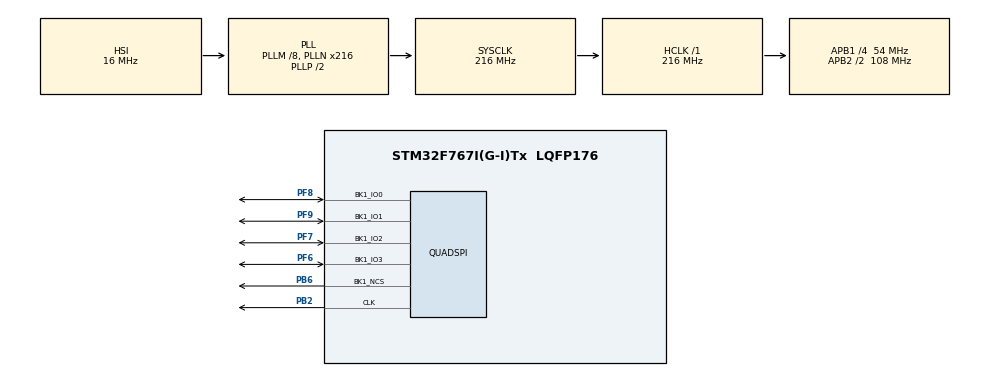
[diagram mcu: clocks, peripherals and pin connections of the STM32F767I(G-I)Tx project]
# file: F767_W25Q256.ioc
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Mcu.Family=STM32F7
Mcu.Name=STM32F767I(G-I)Tx
Mcu.Package=LQFP176
NVIC.PriorityGroup=NVIC_PRIORITYGROUP_4
NVIC.QUADSPI_IRQn=true\:0\:0\:false\:false\:true\:true\:true\:true
PB2.GPIO_Speed=GPIO_SPEED_FREQ_HIGH
PB2.Mode=Single Bank 1
PB2.Signal=QUADSPI_CLK
PB6.GPIO_Speed=GPIO_SPEED_FREQ_HIGH
PB6.Mode=Single Bank 1
PB6.Signal=QUADSPI_BK1_NCS
PC14/OSC32_IN.Mode=LSE-External-Oscillator
PC14/OSC32_IN.Signal=RCC_OSC32_IN
PC15/OSC32_OUT.Mode=LSE-External-Oscillator
PC15/OSC32_OUT.Signal=RCC_OSC32_OUT
PF6.GPIO_Speed=GPIO_SPEED_FREQ_HIGH
PF6.Mode=Single Bank 1
PF6.Signal=QUADSPI_BK1_IO3
PF7.GPIO_Speed=GPIO_SPEED_FREQ_HIGH
PF7.Mode=Single Bank 1
PF7.Signal=QUADSPI_BK1_IO2
PF8.GPIO_Speed=GPIO_SPEED_FREQ_HIGH
PF8.Mode=Single Bank 1
PF8.Signal=QUADSPI_BK1_IO0
PF9.GPIO_Speed=GPIO_SPEED_FREQ_HIGH
PF9.Mode=Single Bank 1
PF9.Signal=QUADSPI_BK1_IO1
PH0/OSC_IN.Mode=HSE-External-Oscillator
PH0/OSC_IN.Signal=RCC_OSC_IN
PH1/OSC_OUT.Mode=HSE-External-Oscillator
PH1/OSC_OUT.Signal=RCC_OSC_OUT
ProjectManager.HeapSize=0x200
ProjectManager.StackSize=0x400
ProjectManager.TargetToolchain=STM32CubeIDE
QUADSPI.ChipSelectHighTime=QSPI_CS_HIGH_TIME_5_CYCLE
QUADSPI.ClockMode=QSPI_CLOCK_MODE_0
QUADSPI.ClockPrescaler=1
QUADSPI.FifoThreshold=32
QUADSPI.FlashSize=24
QUADSPI.SampleShifting=QSPI_SAMPLE_SHIFTING_HALFCYCLE
RCC.AHBFreq_Value=216000000
RCC.APB1CLKDivider=RCC_HCLK_DIV4
RCC.APB1Freq_Value=54000000
RCC.APB1TimFreq_Value=108000000
RCC.APB2CLKDivider=RCC_HCLK_DIV2
RCC.APB2Freq_Value=108000000
RCC.APB2TimFreq_Value=216000000
RCC.CortexFreq_Value=216000000
RCC.HCLKFreq_Value=216000000
RCC.HSE_VALUE=25000000
RCC.HSI_VALUE=16000000
RCC.PLLM=8
RCC.PLLN=216
RCC.SYSCLKFreq_VALUE=216000000
RCC.SYSCLKSource=RCC_SYSCLKSOURCE_PLLCLK
RCC.USBFreq_Value=216000000
RCC.VCOOutputFreq_Value=432000000
board=custom

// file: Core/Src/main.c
/* USER CODE BEGIN Header */
/**
  ******************************************************************************
  * @file           : main.c
  * @brief          : Main program body
  ******************************************************************************
  * @attention
  *
  * Copyright (c) 2024 STMicroelectronics.
  * All rights reserved.
  *
  * This software is licensed under terms that can be found in the LICENSE file
  * in the root directory of this software component.
  * If no LICENSE file comes with this software, it is provided AS-IS.
  *
  ******************************************************************************
  */
/* USER CODE END Header */
#include "main.h"
#include "quadspi.h"
#include "gpio.h"

void SystemClock_Config(void);

/* USER CODE BEGIN 0 */
#include <string.h>
#include "w25q256.h"
//8192
#define SECTORS_COUNT 256
/* USER CODE END 0 */

int main(void)
{

  /* MCU Configuration--------------------------------------------------------*/

  /* Reset of all peripherals, Initializes the Flash interface and the Systick. */
  HAL_Init();

  /* Configure the system clock */
  SystemClock_Config();

  /* Initialize all configured peripherals */
  MX_GPIO_Init();
  //MX_QUADSPI_Init();
  /* USER CODE BEGIN 2 */
	uint8_t buffer_test[MEMORY_SECTOR_SIZE];
  uint32_t var = 0;

	CSP_QUADSPI_Init();

	for (var = 0; var < MEMORY_SECTOR_SIZE; var++) {
		buffer_test[var] = ((var+1) & 0xff);
	}

//	if (CSP_QSPI_EnableMemoryMappedMode() != HAL_OK) {
//
//		while (1)
//			; //breakpoint - error detected
//	}

	for (var = 0; var < SECTORS_COUNT; var++) {
		//var = 0;
		if (CSP_QSPI_EraseSector(var * MEMORY_SECTOR_SIZE,
				(var + 1) * MEMORY_SECTOR_SIZE - 1) != HAL_OK) {

			while (1)
				;  //breakpoint - error detected
		}

		if (CSP_QSPI_WriteMemory(buffer_test, var * MEMORY_SECTOR_SIZE,
				sizeof(buffer_test)) != HAL_OK) {

			while (1)
				;  //breakpoint - error detected
		}

	}

	 if (CSP_QSPI_EnableMemoryMappedMode() != HAL_OK) {

	 	while (1)
	 		; //breakpoint - error detected
	 }

	HAL_Delay(10);

	for (var = 0; var < SECTORS_COUNT; var++) {
		if (memcmp(buffer_test,
				(uint8_t*) (0x90000000 + var * MEMORY_SECTOR_SIZE),
				MEMORY_SECTOR_SIZE) != HAL_OK) {
			while (1)
				;  //breakpoint - error detected - otherwise QSPI works properly
		}
	}

	uint8_t *temp3 = (uint8_t*)0x90000000;
	uint8_t temp2[10] = {0};
	memcpy(temp2, temp3, 10);
  /* USER CODE END 2 */

  /* Infinite loop */
  while (1)
  {

  }
}

void SystemClock_Config(void)
{
  RCC_OscInitTypeDef RCC_OscInitStruct = {0};
  RCC_ClkInitTypeDef RCC_ClkInitStruct = {0};

  /** Configure LSE Drive Capability
  */
  HAL_PWR_EnableBkUpAccess();

  /** Configure the main internal regulator output voltage
  */
  __HAL_RCC_PWR_CLK_ENABLE();
  __HAL_PWR_VOLTAGESCALING_CONFIG(PWR_REGULATOR_VOLTAGE_SCALE1);

  /** Initializes the RCC Oscillators according to the specified parameters
  * in the RCC_OscInitTypeDef structure.
  */
  RCC_OscInitStruct.OscillatorType = RCC_OSCILLATORTYPE_HSI;
  RCC_OscInitStruct.HSIState = RCC_HSI_ON;
  RCC_OscInitStruct.HSICalibrationValue = RCC_HSICALIBRATION_DEFAULT;
  RCC_OscInitStruct.PLL.PLLState = RCC_PLL_ON;
  RCC_OscInitStruct.PLL.PLLSource = RCC_PLLSOURCE_HSI;
  RCC_OscInitStruct.PLL.PLLM = 8;
  RCC_OscInitStruct.PLL.PLLN = 216;
  RCC_OscInitStruct.PLL.PLLP = RCC_PLLP_DIV2;
  RCC_OscInitStruct.PLL.PLLQ = 2;
  RCC_OscInitStruct.PLL.PLLR = 2;
  if (HAL_RCC_OscConfig(&RCC_OscInitStruct) != HAL_OK)
  {
    Error_Handler();
  }

  /** Activate the Over-Drive mode
  */
  if (HAL_PWREx_EnableOverDrive() != HAL_OK)
  {
    Error_Handler();
  }

  /** Initializes the CPU, AHB and APB buses clocks
  */
  RCC_ClkInitStruct.ClockType = RCC_CLOCKTYPE_HCLK|RCC_CLOCKTYPE_SYSCLK
                              |RCC_CLOCKTYPE_PCLK1|RCC_CLOCKTYPE_PCLK2;
  RCC_ClkInitStruct.SYSCLKSource = RCC_SYSCLKSOURCE_PLLCLK;
  RCC_ClkInitStruct.AHBCLKDivider = RCC_SYSCLK_DIV1;
  RCC_ClkInitStruct.APB1CLKDivider = RCC_HCLK_DIV4;
  RCC_ClkInitStruct.APB2CLKDivider = RCC_HCLK_DIV2;

  if (HAL_RCC_ClockConfig(&RCC_ClkInitStruct, FLASH_LATENCY_7) != HAL_OK)
  {
    Error_Handler();
  }
}

void Error_Handler(void)
{
  __disable_irq();
  while (1)
  {
  }
}
